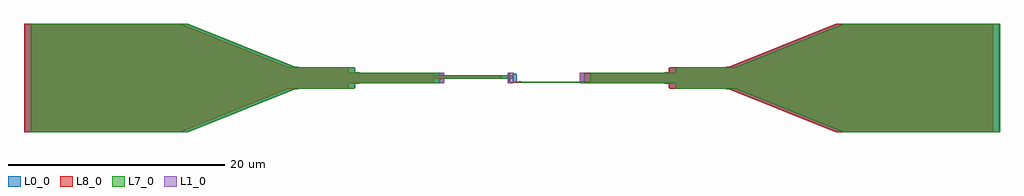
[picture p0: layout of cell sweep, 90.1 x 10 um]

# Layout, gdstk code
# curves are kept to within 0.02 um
from math import pi, radians
import gdstk
lib = gdstk.Library(unit=1e-6, precision=1e-09)
def R(c, l, rs):  # rectangles x0, y0, x1, y1
    for r in rs: c.add(gdstk.rectangle(r[:2], r[2:], *l))
def P(c, l, *ps):  # polygons
    for p in ps: c.add(gdstk.Polygon(p, *l))
L0_0 = (0, 0)
L1_0 = (1, 0)
L7_0 = (7, 0)
L8_0 = (8, 0)

junction_small_dolan_3_ = lib.new_cell('Junction_Small_dolan[3]')
R(junction_small_dolan_3_, L0_0, [(0.25,-0.433,8.25,-0.333), (0.25,-0.4,0.6,0.4), (-7.25,-0.067,-0.25,0.233)])
R(junction_small_dolan_3_, L1_0, [(-0.25,-0.5,0.25,0.5)])

junctionlead_0_ = lib.new_cell('JunctionLead[0]')
P(junctionlead_0_, L0_0, [(15,5),(15,5),(15,5),(15,5),(15,5),(15,5),(15,5),(15,5),(15,5),(15,5),(15,5),(15,5),(15,5),(15,5),(15,5),(15,5),(15,5),(15,5),(15,5),(15,5),(15,5),(15,5),(15,5),(15,5),(15,5),(15,5),(15,5),(15,5),(15,5),(15,5),(15,5),(15,5),(0,5),(0,5),(0,5),(0,5),(0,5),(0,5),(0,5),(0,5),(0,5),(0,5),(0,5),(0,5),(0,5),(0,5),(0,5),(0,5),(0,5),(0,5),(0,5),(0,5),(0,5),(0,5),(0,5),(0,5),(0,5),(0,5),(0,5),(0,5),(0,5),(0,5),(0,5),(0,5),(0,-5),(0,-5),(0,-5),(0,-5),(0,-5),(0,-5),(0,-5),(0,-5),(0,-5),(0,-5),(0,-5),(0,-5),(0,-5),(0,-5),(0,-5),(0,-5),(0,-5),(0,-5),(0,-5),(0,-5),(0,-5),(0,-5),(0,-5),(0,-5),(0,-5),(0,-5),(0,-5),(0,-5),(0,-5),(0,-5),(0,-5),(0,-5),(15,-5),(15,-5),(15,-5),(15,-5),(15,-5),(15,-5),(15,-5),(15,-5),(15,-5),(15,-5),(15,-5),(15,-5),(15,-5),(15,-5),(15,-5),(15,-5),(15,-5),(15,-5),(15,-5),(15,-5),(15,-5),(15,-5),(15,-5),(15,-5),(15,-5),(15,-5),(15,-5),(15,-5),(15,-5),(15,-5),(15,-5),(15,-5)],
  [(25,1),(15,5),(15,-5),(25,-1)],
  [(30,1),(30,1),(30,1),(30,1),(30,1),(30,1),(30,1),(30,1),(30,1),(30,1),(30,1),(30,1),(30,1),(30,1),(30,1),(30,1),(30,1),(30,1),(30,1),(30,1),(30,1),(30,1),(30,1),(30,1),(30,1),(30,1),(30,1),(30,1),(30,1),(30,1),(30,1),(30,1),(25,1),(25,1),(25,1),(25,1),(25,1),(25,1),(25,1),(25,1),(25,1),(25,1),(25,1),(25,1),(25,1),(25,1),(25,1),(25,1),(25,1),(25,1),(25,1),(25,1),(25,1),(25,1),(25,1),(25,1),(25,1),(25,1),(25,1),(25,1),(25,1),(25,1),(25,1),(25,1),(25,-1),(25,-1),(25,-1),(25,-1),(25,-1),(25,-1),(25,-1),(25,-1),(25,-1),(25,-1),(25,-1),(25,-1),(25,-1),(25,-1),(25,-1),(25,-1),(25,-1),(25,-1),(25,-1),(25,-1),(25,-1),(25,-1),(25,-1),(25,-1),(25,-1),(25,-1),(25,-1),(25,-1),(25,-1),(25,-1),(25,-1),(25,-1),(30,-1),(30,-1),(30,-1),(30,-1),(30,-1),(30,-1),(30,-1),(30,-1),(30,-1),(30,-1),(30,-1),(30,-1),(30,-1),(30,-1),(30,-1),(30,-1),(30,-1),(30,-1),(30,-1),(30,-1),(30,-1),(30,-1),(30,-1),(30,-1),(30,-1),(30,-1),(30,-1),(30,-1),(30,-1),(30,-1),(30,-1),(30,-1)],
  [(30.5,0.755),(30.463,0.885),(30.363,0.975),(30,1),(30,-1),(30.34,-0.985),(30.433,-0.924),(30.489,-0.828)])

fluxonium_00 = lib.new_cell('fluxonium-00')
R(fluxonium_00, L0_0, [(-44.55,-5,-6.65,-4), (6.65,-5,44.55,-4)])
R(fluxonium_00, L1_0, [(-6.65,-5,-6.25,-4.567), (6.25,-5,6.65,-4.933), (6.25,-4.833,6.65,-4), (-6.65,-4.267,-6.25,-4)])
fluxonium_00.add(gdstk.Reference(junction_small_dolan_3_, (-0.15,-4.5)))
fluxonium_00.add(gdstk.Reference(junctionlead_0_, (-45,-4.5)))
fluxonium_00.add(gdstk.Reference(junctionlead_0_, (45,-4.5), rotation=pi, x_reflection=True))

evap_0 = lib.new_cell('evap_0')
P(evap_0, L7_0, [(45.05,0.5),(30.59,0.5),(20.59,-3.5),(15.31,-3.501),(15.185,-3.551),(15.11,-3.648),(15.09,-4),(7.24,-4),(7.24,-4.833),(0.86,-4.833),(0.86,-4.783),(0.69,-4.783),(0.69,-4.933),(7.24,-4.933),(7.24,-5),(15.09,-5),(15.11,-5.352),(15.185,-5.449),(15.31,-5.499),(20.59,-5.5),(30.59,-9.5),(45.05,-9.5)],
  [(-19.991,-5.55),(-19.715,-5.55),(-19.59,-5.5),(-14.58,-5.5),(-14.462,-5.34),(-14.45,-5.05),(-14.09,-5.05),(-14.09,-5),(-6.25,-5),(-6.24,-4.567),(0.01,-4.567),(0.01,-4.267),(-6.24,-4.267),(-6.25,-4),(-14.09,-4),(-14.09,-3.95),(-14.45,-3.95),(-14.462,-3.66),(-14.58,-3.5),(-19.59,-3.5),(-19.715,-3.45),(-19.991,-3.45),(-29.866,0.5),(-44.41,0.5),(-44.41,-9.5),(-29.866,-9.5)])

evap_1 = lib.new_cell('evap_1')
P(evap_1, L8_0, [(6.25,-4.783),(6.24,-4.833),(-0.14,-4.833),(-0.14,-4.1),(-0.31,-4.1),(-0.31,-4.933),(6.24,-4.933),(6.25,-5),(14.09,-5),(14.09,-5.05),(14.45,-5.05),(14.462,-5.34),(14.58,-5.5),(19.59,-5.5),(19.715,-5.55),(19.991,-5.55),(29.866,-9.5),(44.41,-9.5),(44.41,0.5),(29.866,0.5),(19.991,-3.45),(19.715,-3.45),(19.59,-3.5),(14.58,-3.5),(14.462,-3.66),(14.45,-3.95),(14.09,-3.95),(14.09,-4),(6.25,-4)],
  [(-20.59,-5.5),(-15.31,-5.499),(-15.185,-5.449),(-15.11,-5.352),(-15.09,-5),(-7.24,-5),(-7.24,-4.567),(-0.99,-4.567),(-0.99,-4.267),(-7.24,-4.267),(-7.24,-4),(-15.09,-4),(-15.11,-3.648),(-15.185,-3.551),(-15.31,-3.501),(-20.59,-3.5),(-30.59,0.5),(-45.05,0.5),(-45.05,-9.5),(-30.59,-9.5)])

sweep = lib.new_cell('sweep')
sweep.add(gdstk.Reference(fluxonium_00, (0,0)))
sweep.add(gdstk.Reference(evap_0, (0,0)))
sweep.add(gdstk.Reference(evap_1, (0,0)))

lib.write_gds('sweep.gds')
